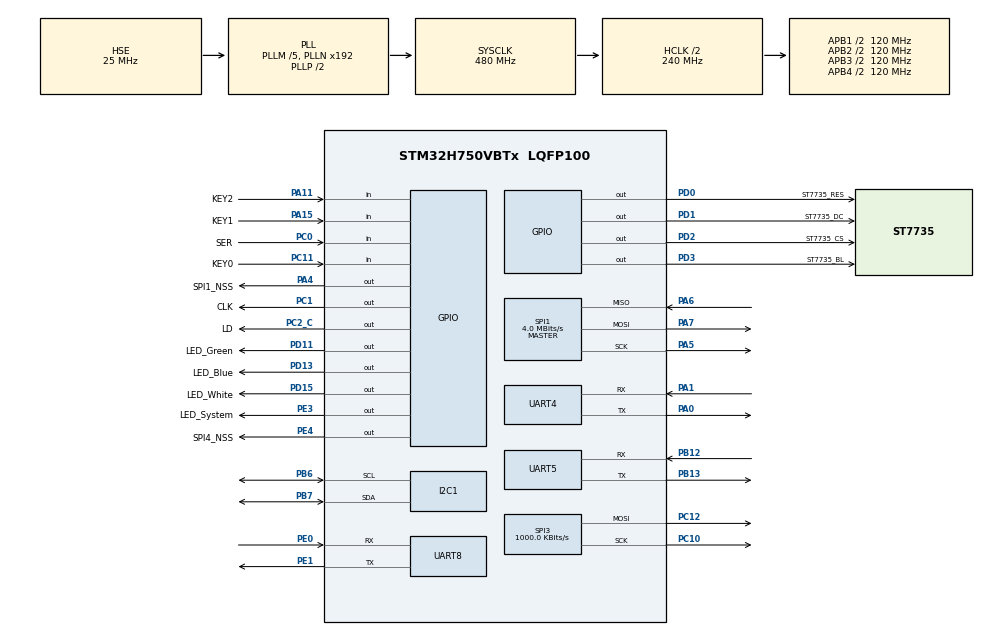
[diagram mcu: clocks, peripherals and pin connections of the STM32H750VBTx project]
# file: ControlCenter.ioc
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CORTEX_M7.default_mode_Activation=1
FREERTOS.BinarySemaphores01=bGetaPidOutSem,Dynamic,NULL;bSerialOutputSem,Dynamic,NULL
FREERTOS.Queues01=MessageQueue,16,uint32_t,0,Dynamic,NULL,NULL
FREERTOS.Tasks01=LEDcontrol,24,128,LEDControlEntry,Default,NULL,Dynamic,NULL,NULL;ScreenRefresh,24,256,ScreenRefreshEntry,Default,NULL,Dynamic,NULL,NULL;StateMachine,24,512,StateMachineEntry,Default,NULL,Dynamic,NULL,NULL;AttitudeControl,24,256,AttitudeControlEntry,Default,NULL,Dynamic,NULL,NULL;StepControl,24,256,StepControlEntry,Default,NULL,Dynamic,NULL,NULL;SerialOutput,24,256,SerialOutputEntry,Default,NULL,Dynamic,NULL,NULL;KeyInput,24,256,KeyInputEntry,Default,NULL,Dynamic,NULL,NULL;UpdateCoordinat,24,256,UpdateCoordinatesEntry,Default,NULL,Dynamic,NULL,NULL
I2C1.Timing=0x307075B1
Mcu.Family=STM32H7
Mcu.Name=STM32H750VBTx
Mcu.Package=LQFP100
NVIC.PriorityGroup=NVIC_PRIORITYGROUP_4
NVIC.TIM17_IRQn=true\:15\:0\:false\:false\:true\:false\:false\:true\:true
NVIC.TIM3_IRQn=true\:5\:0\:false\:false\:true\:true\:true\:true\:true
NVIC.TimeBase=TIM17_IRQn
NVIC.TimeBaseIP=TIM17
PA0.Mode=Asynchronous
PA0.Signal=UART4_TX
PA1.Mode=Asynchronous
PA1.Signal=UART4_RX
PA11.GPIO_Label=KEY2
PA11.GPIO_PuPd=GPIO_PULLUP
PA11.Signal=GPIO_Input
PA15\ (JTDI).GPIO_Label=KEY1
PA15\ (JTDI).GPIO_PuPd=GPIO_PULLUP
PA15\ (JTDI).Signal=GPIO_Input
PA4.GPIO_Label=SPI1_NSS
PA4.Signal=GPIO_Output
PA5.Mode=Full_Duplex_Master
PA5.Signal=SPI1_SCK
PA6.Mode=Full_Duplex_Master
PA6.Signal=SPI1_MISO
PA7.Mode=Full_Duplex_Master
PA7.Signal=SPI1_MOSI
PB12.Mode=Asynchronous
PB12.Signal=UART5_RX
PB13.Mode=Asynchronous
PB13.Signal=UART5_TX
PB6.Mode=I2C
PB6.Signal=I2C1_SCL
PB7.Mode=I2C
PB7.Signal=I2C1_SDA
PC0.GPIO_Label=SER
PC0.Signal=GPIO_Input
PC1.GPIO_Label=CLK
PC1.Signal=GPIO_Output
PC10.Mode=TX_Only_Simplex_Unidirect_Master
PC10.Signal=SPI3_SCK
PC11.GPIO_Label=KEY0
PC11.GPIO_PuPd=GPIO_PULLUP
PC11.Signal=GPIO_Input
PC12.Mode=TX_Only_Simplex_Unidirect_Master
PC12.Signal=SPI3_MOSI
PC2_C.GPIO_Label=LD
PC2_C.Signal=GPIO_Output
PD0.GPIO_Label=ST7735_RES
PD0.Signal=GPIO_Output
PD1.GPIO_Label=ST7735_DC
PD1.Signal=GPIO_Output
PD11.GPIO_Label=LED_Green
PD11.Signal=GPIO_Output
PD13.GPIO_Label=LED_Blue
PD13.Signal=GPIO_Output
PD15.GPIO_Label=LED_White
PD15.Signal=GPIO_Output
PD2.GPIO_Label=ST7735_CS
PD2.Signal=GPIO_Output
PD3.GPIO_Label=ST7735_BL
PD3.Signal=GPIO_Output
PE0.Mode=Asynchronous
PE0.Signal=UART8_RX
PE1.Mode=Asynchronous
PE1.Signal=UART8_TX
PE3.GPIO_Label=LED_System
PE3.Signal=GPIO_Output
PE4.GPIO_Label=SPI4_NSS
PE4.Signal=GPIO_Output
PH0-OSC_IN\ (PH0).Mode=HSE-External-Oscillator
PH0-OSC_IN\ (PH0).Signal=RCC_OSC_IN
PH1-OSC_OUT\ (PH1).Mode=HSE-External-Oscillator
PH1-OSC_OUT\ (PH1).Signal=RCC_OSC_OUT
ProjectManager.HeapSize=0x200
ProjectManager.StackSize=0x400
ProjectManager.TargetToolchain=STM32CubeIDE
RCC.ADCFreq_Value=50390625
RCC.APB1Freq_Value=120000000
RCC.APB2Freq_Value=120000000
RCC.APB3Freq_Value=120000000
RCC.APB4Freq_Value=120000000
RCC.CortexFreq_Value=480000000
RCC.D1PPRE=RCC_APB3_DIV2
RCC.D2PPRE1=RCC_APB1_DIV2
RCC.D2PPRE2=RCC_APB2_DIV2
RCC.D3PPRE=RCC_APB4_DIV2
RCC.DIVM1=5
RCC.DIVN1=192
RCC.HCLKFreq_Value=240000000
RCC.HPRE=RCC_HCLK_DIV2
RCC.PLLSourceVirtual=RCC_PLLSOURCE_HSE
RCC.SPI123CLockSelection=RCC_SPI123CLKSOURCE_CLKP
RCC.SYSCLKFreq_VALUE=480000000
RCC.SYSCLKSource=RCC_SYSCLKSOURCE_PLLCLK
RCC.USBFreq_Value=480000000
SPI1.BaudRatePrescaler=SPI_BAUDRATEPRESCALER_16
SPI1.CalculateBaudRate=4.0 MBits/s
SPI1.DataSize=SPI_DATASIZE_8BIT
SPI1.Direction=SPI_DIRECTION_2LINES
SPI1.Mode=SPI_MODE_MASTER
SPI1.VirtualType=VM_MASTER
SPI3.BaudRatePrescaler=SPI_BAUDRATEPRESCALER_64
SPI3.CalculateBaudRate=1000.0 KBits/s
SPI3.DataSize=SPI_DATASIZE_8BIT
SPI3.Direction=SPI_DIRECTION_2LINES_TXONLY
SPI3.Mode=SPI_MODE_MASTER
SPI3.NSSPMode=SPI_NSS_PULSE_DISABLE
SPI3.VirtualType=VM_MASTER
TIM2.Prescaler=2399
TIM3.Period=99
TIM3.Prescaler=2399
VP_FREERTOS_VS_CMSIS_V2.Mode=CMSIS_V2
VP_SYS_VS_tim17.Mode=TIM17
VP_TIM2_VS_ClockSourceINT.Mode=Internal
VP_TIM3_VS_ClockSourceINT.Mode=Internal
board=custom

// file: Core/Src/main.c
/* USER CODE BEGIN Header */
/**
  ******************************************************************************
  * @file           : main.c
  * @brief          : Main program body
  ******************************************************************************
  * @attention
  *
  * Copyright (c) 2022 STMicroelectronics.
  * All rights reserved.
  *
  * This software is licensed under terms that can be found in the LICENSE file
  * in the root directory of this software component.
  * If no LICENSE file comes with this software, it is provided AS-IS.
  *
  ******************************************************************************
  */
/* USER CODE END Header */
#include "main.h"
#include "cmsis_os.h"
#include "i2c.h"
#include "spi.h"
#include "tim.h"
#include "usart.h"
#include "gpio.h"

/* USER CODE BEGIN Includes */
#include "LobotSerialServo/LobotSerialServo.h"
#include "ST7735-HAL/st7735.h"
#include "74HC165/74HC165.h"
#include "printf.h"
/* USER CODE END Includes */

/* USER CODE BEGIN PV */
uint32_t runTimeTick = 0;
/* USER CODE END PV */

void SystemClock_Config(void);

void PeriphCommonClock_Config(void);

static void MPU_Config(void);

void MX_FREERTOS_Init(void);

/* USER CODE BEGIN PFP */
int __io_putchar(int ch) {
    HAL_StatusTypeDef res = HAL_UART_Transmit(&huart5, (uint8_t *) &ch, 1, HAL_MAX_DELAY);
    return (int) res;
}
/* USER CODE END PFP */

int main(void) {

    /* MPU Configuration--------------------------------------------------------*/
    MPU_Config();

    /* MCU Configuration--------------------------------------------------------*/

    /* Reset of all peripherals, Initializes the Flash interface and the Systick. */
    HAL_Init();

    /* Configure the system clock */
    SystemClock_Config();

/* Configure the peripherals common clocks */
    PeriphCommonClock_Config();

    /* Initialize all configured peripherals */
    MX_GPIO_Init();
    MX_SPI1_Init();
    MX_UART4_Init();
    MX_SPI3_Init();
    MX_UART5_Init();
    MX_UART8_Init();
    MX_I2C1_Init();
    MX_TIM3_Init();
    MX_TIM2_Init();

    /* Init scheduler */
    osKernelInitialize();  /* Call init function for freertos objects (in freertos.c) */
    MX_FREERTOS_Init();

    /* Start scheduler */
    osKernelStart();

    /* We should never get here as control is now taken by the scheduler */
    /* Infinite loop */
    while (1) {

    }
}

void SystemClock_Config(void) {
    RCC_OscInitTypeDef RCC_OscInitStruct = {0};
    RCC_ClkInitTypeDef RCC_ClkInitStruct = {0};

    /** Supply configuration update enable
    */
    HAL_PWREx_ConfigSupply(PWR_LDO_SUPPLY);

    /** Configure the main internal regulator output voltage
    */
    __HAL_PWR_VOLTAGESCALING_CONFIG(PWR_REGULATOR_VOLTAGE_SCALE0);

    while (!__HAL_PWR_GET_FLAG(PWR_FLAG_VOSRDY)) {}

    /** Initializes the RCC Oscillators according to the specified parameters
    * in the RCC_OscInitTypeDef structure.
    */
    RCC_OscInitStruct.OscillatorType = RCC_OSCILLATORTYPE_HSI | RCC_OSCILLATORTYPE_HSE;
    RCC_OscInitStruct.HSEState = RCC_HSE_ON;
    RCC_OscInitStruct.HSIState = RCC_HSI_DIV1;
    RCC_OscInitStruct.HSICalibrationValue = RCC_HSICALIBRATION_DEFAULT;
    RCC_OscInitStruct.PLL.PLLState = RCC_PLL_ON;
    RCC_OscInitStruct.PLL.PLLSource = RCC_PLLSOURCE_HSE;
    RCC_OscInitStruct.PLL.PLLM = 5;
    RCC_OscInitStruct.PLL.PLLN = 192;
    RCC_OscInitStruct.PLL.PLLP = 2;
    RCC_OscInitStruct.PLL.PLLQ = 2;
    RCC_OscInitStruct.PLL.PLLR = 2;
    RCC_OscInitStruct.PLL.PLLRGE = RCC_PLL1VCIRANGE_2;
    RCC_OscInitStruct.PLL.PLLVCOSEL = RCC_PLL1VCOWIDE;
    RCC_OscInitStruct.PLL.PLLFRACN = 0;
    if (HAL_RCC_OscConfig(&RCC_OscInitStruct) != HAL_OK) {
        Error_Handler();
    }

    /** Initializes the CPU, AHB and APB buses clocks
    */
    RCC_ClkInitStruct.ClockType = RCC_CLOCKTYPE_HCLK | RCC_CLOCKTYPE_SYSCLK
                                  | RCC_CLOCKTYPE_PCLK1 | RCC_CLOCKTYPE_PCLK2
                                  | RCC_CLOCKTYPE_D3PCLK1 | RCC_CLOCKTYPE_D1PCLK1;
    RCC_ClkInitStruct.SYSCLKSource = RCC_SYSCLKSOURCE_PLLCLK;
    RCC_ClkInitStruct.SYSCLKDivider = RCC_SYSCLK_DIV1;
    RCC_ClkInitStruct.AHBCLKDivider = RCC_HCLK_DIV2;
    RCC_ClkInitStruct.APB3CLKDivider = RCC_APB3_DIV2;
    RCC_ClkInitStruct.APB1CLKDivider = RCC_APB1_DIV2;
    RCC_ClkInitStruct.APB2CLKDivider = RCC_APB2_DIV2;
    RCC_ClkInitStruct.APB4CLKDivider = RCC_APB4_DIV2;

    if (HAL_RCC_ClockConfig(&RCC_ClkInitStruct, FLASH_LATENCY_4) != HAL_OK) {
        Error_Handler();
    }
}

void PeriphCommonClock_Config(void) {
    RCC_PeriphCLKInitTypeDef PeriphClkInitStruct = {0};

    /** Initializes the peripherals clock
    */
    PeriphClkInitStruct.PeriphClockSelection = RCC_PERIPHCLK_CKPER;
    PeriphClkInitStruct.CkperClockSelection = RCC_CLKPSOURCE_HSI;
    if (HAL_RCCEx_PeriphCLKConfig(&PeriphClkInitStruct) != HAL_OK) {
        Error_Handler();
    }
}

/* MPU Configuration */

void MPU_Config(void) {
    MPU_Region_InitTypeDef MPU_InitStruct = {0};

    /* Disables the MPU */
    HAL_MPU_Disable();

    /** Initializes and configures the Region and the memory to be protected
    */
    MPU_InitStruct.Enable = MPU_REGION_ENABLE;
    MPU_InitStruct.Number = MPU_REGION_NUMBER0;
    MPU_InitStruct.BaseAddress = 0x0;
    MPU_InitStruct.Size = MPU_REGION_SIZE_4GB;
    MPU_InitStruct.SubRegionDisable = 0x87;
    MPU_InitStruct.TypeExtField = MPU_TEX_LEVEL0;
    MPU_InitStruct.AccessPermission = MPU_REGION_NO_ACCESS;
    MPU_InitStruct.DisableExec = MPU_INSTRUCTION_ACCESS_DISABLE;
    MPU_InitStruct.IsShareable = MPU_ACCESS_SHAREABLE;
    MPU_InitStruct.IsCacheable = MPU_ACCESS_NOT_CACHEABLE;
    MPU_InitStruct.IsBufferable = MPU_ACCESS_NOT_BUFFERABLE;

    HAL_MPU_ConfigRegion(&MPU_InitStruct);
    /* Enables the MPU */
    HAL_MPU_Enable(MPU_PRIVILEGED_DEFAULT);

}

void HAL_TIM_PeriodElapsedCallback(TIM_HandleTypeDef *htim) {
    if (htim->Instance == TIM17) {
        HAL_IncTick();
    }
}

void Error_Handler(void) {
    __disable_irq();
    while (1) {
    }
}

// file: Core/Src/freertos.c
/* USER CODE BEGIN Header */
/**
  ******************************************************************************
  * File Name          : freertos.c
  * Description        : Code for freertos applications
  ******************************************************************************
  * @attention
  *
  * Copyright (c) 2022 STMicroelectronics.
  * All rights reserved.
  *
  * This software is licensed under terms that can be found in the LICENSE file
  * in the root directory of this software component.
  * If no LICENSE file comes with this software, it is provided AS-IS.
  *
  ******************************************************************************
  */
/* USER CODE END Header */

#include "FreeRTOS.h"
#include "task.h"
#include "main.h"
#include "cmsis_os.h"

/* USER CODE BEGIN Includes */
#include "key.h"
#include "stdio.h"
#include "usart.h"
#include "utils.h"
#include "stdlib.h"
#include "PID/pid.h"
#include "LogConfig.h"
#include "LobotSerialServo/LobotSerialServo.h"
#include "74HC165/74HC165.h"
#include "Compass/QMC5883L.h"
#include "CommonKey/comKey.h"
#include "ST7735-HAL/st7735.h"
#include "DebugLogger/Debug.h"
/* USER CODE END Includes */

/* Definitions for LEDcontrol */
osThreadId_t LEDcontrolHandle;
const osThreadAttr_t LEDcontrol_attributes = {
        .name = "LEDcontrol",
        .stack_size = 128 * 4,
        .priority = (osPriority_t) osPriorityNormal,
};
/* Definitions for ScreenRefresh */
osThreadId_t ScreenRefreshHandle;
const osThreadAttr_t ScreenRefresh_attributes = {
        .name = "ScreenRefresh",
        .stack_size = 256 * 4,
        .priority = (osPriority_t) osPriorityNormal,
};
/* Definitions for StateMachine */
osThreadId_t StateMachineHandle;
const osThreadAttr_t StateMachine_attributes = {
        .name = "StateMachine",
        .stack_size = 512 * 4,
        .priority = (osPriority_t) osPriorityNormal,
};
/* Definitions for AttitudeControl */
osThreadId_t AttitudeControlHandle;
const osThreadAttr_t AttitudeControl_attributes = {
        .name = "AttitudeControl",
        .stack_size = 256 * 4,
        .priority = (osPriority_t) osPriorityNormal,
};
/* Definitions for StepControl */
osThreadId_t StepControlHandle;
const osThreadAttr_t StepControl_attributes = {
        .name = "StepControl",
        .stack_size = 256 * 4,
        .priority = (osPriority_t) osPriorityNormal,
};
/* Definitions for SerialOutput */
osThreadId_t SerialOutputHandle;
const osThreadAttr_t SerialOutput_attributes = {
        .name = "SerialOutput",
        .stack_size = 256 * 4,
        .priority = (osPriority_t) osPriorityNormal,
};
/* Definitions for KeyInput */
osThreadId_t KeyInputHandle;
const osThreadAttr_t KeyInput_attributes = {
        .name = "KeyInput",
        .stack_size = 256 * 4,
        .priority = (osPriority_t) osPriorityNormal,
};
/* Definitions for UpdateCoordinat */
osThreadId_t UpdateCoordinatHandle;
const osThreadAttr_t UpdateCoordinat_attributes = {
        .name = "UpdateCoordinat",
        .stack_size = 256 * 4,
        .priority = (osPriority_t) osPriorityNormal,
};
/* Definitions for MessageQueue */
osMessageQueueId_t MessageQueueHandle;
const osMessageQueueAttr_t MessageQueue_attributes = {
        .name = "MessageQueue"
};
/* Definitions for bGetaPidOutSem */
osSemaphoreId_t bGetaPidOutSemHandle;
const osSemaphoreAttr_t bGetaPidOutSem_attributes = {
        .name = "bGetaPidOutSem"
};
/* Definitions for bSerialOutputSem */
osSemaphoreId_t bSerialOutputSemHandle;
const osSemaphoreAttr_t bSerialOutputSem_attributes = {
        .name = "bSerialOutputSem"
};

/* USER CODE BEGIN FunctionPrototypes */
void _putchar(char character) {
    osSemaphoreAcquire(bSerialOutputSemHandle, 0xFFFF);
    HAL_UART_Transmit(&huart5, (uint8_t *) &character, 1, HAL_MAX_DELAY);
    osSemaphoreRelease(bSerialOutputSemHandle);
}

/* USER CODE END FunctionPrototypes */

void LEDControlEntry(void *argument);

void ScreenRefreshEntry(void *argument);

void StateMachineEntry(void *argument);

void AttitudeControlEntry(void *argument);

void StepControlEntry(void *argument);

void SerialOutputEntry(void *argument);

void KeyInputEntry(void *argument);

void UpdateCoordinatesEntry(void *argument);

void MX_FREERTOS_Init(void); /* (MISRA C 2004 rule 8.1) */

void MX_FREERTOS_Init(void) {

    /* Create the semaphores(s) */
    /* creation of bGetaPidOutSem */
    bGetaPidOutSemHandle = osSemaphoreNew(1, 1, &bGetaPidOutSem_attributes);

    /* creation of bSerialOutputSem */
    bSerialOutputSemHandle = osSemaphoreNew(1, 1, &bSerialOutputSem_attributes);

    /* Create the queue(s) */
    /* creation of MessageQueue */
    MessageQueueHandle = osMessageQueueNew(16, sizeof(uint32_t), &MessageQueue_attributes);

    /* Create the thread(s) */
    /* creation of LEDcontrol */
    LEDcontrolHandle = osThreadNew(LEDControlEntry, NULL, &LEDcontrol_attributes);

    /* creation of ScreenRefresh */
    ScreenRefreshHandle = osThreadNew(ScreenRefreshEntry, NULL, &ScreenRefresh_attributes);

    /* creation of StateMachine */
    StateMachineHandle = osThreadNew(StateMachineEntry, NULL, &StateMachine_attributes);

    /* creation of AttitudeControl */
    AttitudeControlHandle = osThreadNew(AttitudeControlEntry, NULL, &AttitudeControl_attributes);

    /* creation of StepControl */
    StepControlHandle = osThreadNew(StepControlEntry, NULL, &StepControl_attributes);

    /* creation of SerialOutput */
    SerialOutputHandle = osThreadNew(SerialOutputEntry, NULL, &SerialOutput_attributes);

    /* creation of KeyInput */
    KeyInputHandle = osThreadNew(KeyInputEntry, NULL, &KeyInput_attributes);

    /* creation of UpdateCoordinat */
    UpdateCoordinatHandle = osThreadNew(UpdateCoordinatesEntry, NULL, &UpdateCoordinat_attributes);

}

void LEDControlEntry(void *argument) {
    /* USER CODE BEGIN LEDControlEntry */
    /* Infinite loop */
    for (;;) {
        HAL_GPIO_WritePin(LED_System_GPIO_Port, LED_System_Pin, GPIO_PIN_SET);
//        HAL_GPIO_WritePin(LED_White_GPIO_Port, LED_White_Pin, GPIO_PIN_SET);
//        HAL_GPIO_WritePin(LED_Blue_GPIO_Port, LED_Blue_Pin, GPIO_PIN_SET);
//        HAL_GPIO_WritePin(LED_Green_GPIO_Port, LED_Green_Pin, GPIO_PIN_SET);
        osDelay(50);
        HAL_GPIO_WritePin(LED_System_GPIO_Port, LED_System_Pin, GPIO_PIN_RESET);
//        HAL_GPIO_WritePin(LED_White_GPIO_Port, LED_White_Pin, GPIO_PIN_RESET);
//        HAL_GPIO_WritePin(LED_Blue_GPIO_Port, LED_Blue_Pin, GPIO_PIN_RESET);
//        HAL_GPIO_WritePin(LED_Green_GPIO_Port, LED_Green_Pin, GPIO_PIN_RESET);
        osDelay(950);
    }
    /* USER CODE END LEDControlEntry */
}

void ScreenRefreshEntry(void *argument) {
    /* USER CODE BEGIN ScreenRefreshEntry */
    /* Infinite loop */
    for (;;) {
        SupportRotation(0, 1000);
    }
    /* USER CODE END ScreenRefreshEntry */
}

void StateMachineEntry(void *argument) {
    /* USER CODE BEGIN StateMachineEntry */
    /* Infinite loop */
    for (;;) {
        CarInfo.RunMainState();
        osDelay(1);
    }
    /* USER CODE END StateMachineEntry */
}

void AttitudeControlEntry(void *argument) {
    /* USER CODE BEGIN AttitudeControlEntry */
    /* Infinite loop */
    for (;;) {
        if (CarInfo.aPidLock != aPidLocked) {
            // Get compass data
            static hmcData_t hmc;
            int res = QMC5883_GetData(&hmc);
            LogStart(LogAboutQMC5883_GetData);
            ErrorConLog(res == -1, "QMC5883_GetData:IIC ERROR");
            LogEnd(LogAboutQMC5883_GetData);
//            printf("no:%f,%f,%f\n", hmc.Mx, hmc.My, atan2f(hmc.Mx, hmc.My));

            if (!CarInfo.isYawInited) {//Init coordinate system
                CarInfo.isYawInited = 1;

                float sumX = 0, sumY = 0;
                for (int i = 0; i < 100; i++) {
                    res = QMC5883_GetData(&hmc);
                    if (res != 0)break;
                    sumX += hmc.Mx;
                    sumY += hmc.My;
                    printf("init:%f,%f,%f\n", hmc.Mx, hmc.My, atan2f(hmc.Mx, hmc.My));
                }
                CarInfo.initYawOffset = atan2f(sumX * 0.01f, sumY * 0.01f);
                LogStart(LogAboutQMC5883_CordanateInit);
                ErrorConLog(res == -1, "Init coordinate system FAILED with:[QMC5883_GetData:IIC ERROR]");
                InfoConLog(res == 0, "Init coordinate system success,Init yaw offset = %f", CarInfo.initYawOffset);
                LogEnd(LogAboutQMC5883_CordanateInit);
            } else {// PID close loop
                CarInfo.aPid.ctr.aim = 0;

                // Rotating coordinate system
                CarInfo.yaw = atan2f(hmc.Mx, hmc.My);
                CarInfo.yaw -= CarInfo.initYawOffset;
                if (CarInfo.yaw < -M_PI) {
                    CarInfo.yaw += (float) (2.0 * M_PI);
                } else if (CarInfo.yaw > M_PI) {
                    CarInfo.yaw -= (float) (2.0 * M_PI);
                }
                CarInfo.aPid.ctr.cur = CarInfo.yaw;

                printf("offset:%f,%f,%f,%f,%f\n", CarInfo.aPid.ctr.cur, CarInfo.aPid.ctr.aim, ToDig(CarInfo.yaw),
                       CarInfo.yaw, CarInfo.aPidOut);
                WarnConLog(res == 0 && hmc.Mx == 0 && hmc.My == 0, "QMC5883_GetData:All Zero Data");
                osSemaphoreAcquire(bGetaPidOutSemHandle, UINT32_MAX);
                CarInfo.aPidOut = PID_RealizeForAngle(&CarInfo.aPid);// Use radian system
                osSemaphoreRelease(bGetaPidOutSemHandle);
                CarInfo.aPid.ctr.pre = CarInfo.aPid.ctr.cur;
            }
        }

        osDelay(CarInfo.aPidPeriod);
    }
    /* USER CODE END AttitudeControlEntry */
}

void StepControlEntry(void *argument) {
    /* USER CODE BEGIN StepControlEntry */
    /* Infinite loop */
    for (;;) {
        float freq[4] = {0};
        static float curAimx, curAimy;
        if (curAimx != CarInfo.aimX) {
            curAimx = CarInfo.aimX;
            CarInfo.vx = (CarInfo.aimX - CarInfo.curX) * CarInfo.unitSpeed;
        }
        if (curAimy != CarInfo.aimY) {
            curAimy = CarInfo.aimY;
            CarInfo.vy = (CarInfo.aimY - CarInfo.curY) * CarInfo.unitSpeed;
        }
        CarInfo.vx = CarInfo.aimX == CarInfo.curX ? 0 : CarInfo.vx;
        CarInfo.vy = CarInfo.aimY == CarInfo.curY ? 0 : CarInfo.vy;

        // 顺时针旋转    1  0  1  0
        // 逆时针旋转    0  1  0  1

        Speed2MotorConverter(CarInfo.vx, CarInfo.vy, &freq[0], &freq[1], &freq[2], &freq[3]);
        freq[0] -= CarInfo.aPidOut;
        freq[1] += CarInfo.aPidOut;
        freq[2] -= CarInfo.aPidOut;
        freq[3] += CarInfo.aPidOut;
        for (int i = 0; i < 4; i++) {
//            Step_MoveAsMotor(i, freq[i]);
            osDelay(1);
        }
    }
    /* USER CODE END StepControlEntry */
}

void SerialOutputEntry(void *argument) {
    /* USER CODE BEGIN SerialOutputEntry */
    /* Infinite loop */
    for (;;) {
        vTaskSuspend(SerialOutputHandle);
        osDelay(1);
    }
    /* USER CODE END SerialOutputEntry */
}

void KeyInputEntry(void *argument) {
    /* USER CODE BEGIN KeyInputEntry */
    /* Infinite loop */
    for (;;) {
        ComKey_Handler();
        osDelay(Key_PollingPeriod);
    }
    /* USER CODE END KeyInputEntry */
}

// Update Coordinates Helper struct instance
//static
struct ucHelper {
    uint16_t sData;
    uint8_t sGroup[4];
    enum groupName {
        gUp = 0, gRight, gDown, gLeft
    } groupName: 2;

    // State machines and Timers for each group
    enum state {
        Standby, ForwardRecord, BackRecord, EndCycle
    } stateList[4];

    uint8_t recordList[4];
} ucHelper;

void UpdateCoordinatesEntry(void *argument) {
    /* USER CODE BEGIN UpdateCoordinatesEntry */
    /* Infinite loop */
    for (;;) {

        float *handledData = NULL;
        float addItem;

        // TODO:
        //  Get HC165 Data
        HC165_Get_Data(&ucHelper.sData);
        ucHelper.sGroup[gLeft] = ((0x7F << 4) & ucHelper.sData) >> 4;                                      // Head at 9
        ucHelper.sGroup[gUp] = ((0x7F << 8) & ucHelper.sData) >> 8;                                   // Head at 5
        ucHelper.sGroup[gRight] = (0xF << 12 & ucHelper.sData) >> 12 | ((0x7) & ucHelper.sData) << 4;     // Head at 1
        ucHelper.sGroup[gDown] = ((0x7F) & ucHelper.sData);                                              // Head at 13

        for (int i = 0; i < 1; i++) {
            enum state *pState = &ucHelper.stateList[i];
            uint8_t sGroup = ucHelper.sGroup[i];
            uint8_t *record = &ucHelper.recordList[i];
            switch (*pState) {
                case Standby:
                    // Just do nothing

                    if (sGroup & 0b01000001) {
                        *record |= sGroup;
                        *pState = BackRecord;
                    }
                    if (sGroup & 0b00001000) {
                        *record |= sGroup;
                        *pState = ForwardRecord;
                    }
                    break;
                case ForwardRecord:
                    *record |= sGroup;

                    if ((sGroup & 0b01000001) && ((*record & 0b00111110) == 0)) {
                        *record = 0;
                        *pState = Standby;
                    } else if (*record == 0x7F) {
                        *record = 0;
                        addItem = 1;

                        handledData = (i % 2) == 0 ? &CarInfo.curX : &CarInfo.curY;
                        if (i == gDown || i == gLeft)addItem *= -1;
                        *handledData += addItem;

                        *pState = EndCycle;
                    }
                    break;
                case BackRecord:
                    *record |= sGroup;

                    if ((sGroup & 0b00001000) && ((*record & 0b00111110) == 0)) {
                        *record = 0;
                        *pState = Standby;
                    } else if (*record == 0x7F) {
                        *record = 0;
                        addItem = -1;

                        handledData = (i % 2) == 0 ? &CarInfo.curX : &CarInfo.curY;
                        if (i == gDown || i == gLeft)addItem *= -1;
                        *handledData += addItem;

                        *pState = EndCycle;
                    }
                    break;

                case EndCycle:
                    if (sGroup == 0) {
                        *pState = Standby;
                    }
                    break;
            }
        }
//        printf("%f,%f\n", CarInfo.curX, CarInfo.curY);

        LogStart(LogAboutInfrared);
        WarnConLog(ucHelper.sData == 0 || ucHelper.sData == UINT16_MAX, "Sensor Data ERROR");
        for (int i = 0; i < 16; ++i) {
            DataLog("%d", ucHelper.sData & (1 << i) ? 1 : 0);
        }
        printf("\n");
        for (int gName = 0; gName < 4; gName++) {
            if (ucHelper.sGroup[gName] != 0 && ucHelper.sGroup[gName] != 0x7F) {
                switch (gName) {
                    case gUp:
                        DataLog("gUp:    ");
                        break;
                    case gRight:
                        DataLog("gRight: ");
                        break;
                    case gDown:
                        DataLog("gDown:  ");
                        break;
                    case gLeft:
                        DataLog("gLeft:  ");
                        break;
                    default:;
                }
                for (int i = 0; i < 7; ++i) {
                    DataLog("%d", ucHelper.sGroup[gName] & (1 << i) ? 1 : 0);
                }
                DataLog("\n");
            }
        }
        LogEnd(LogAboutInfrared);

        osDelay(UC_PollingPeriod);
    }
    /* USER CODE END UpdateCoordinatesEntry */
}
